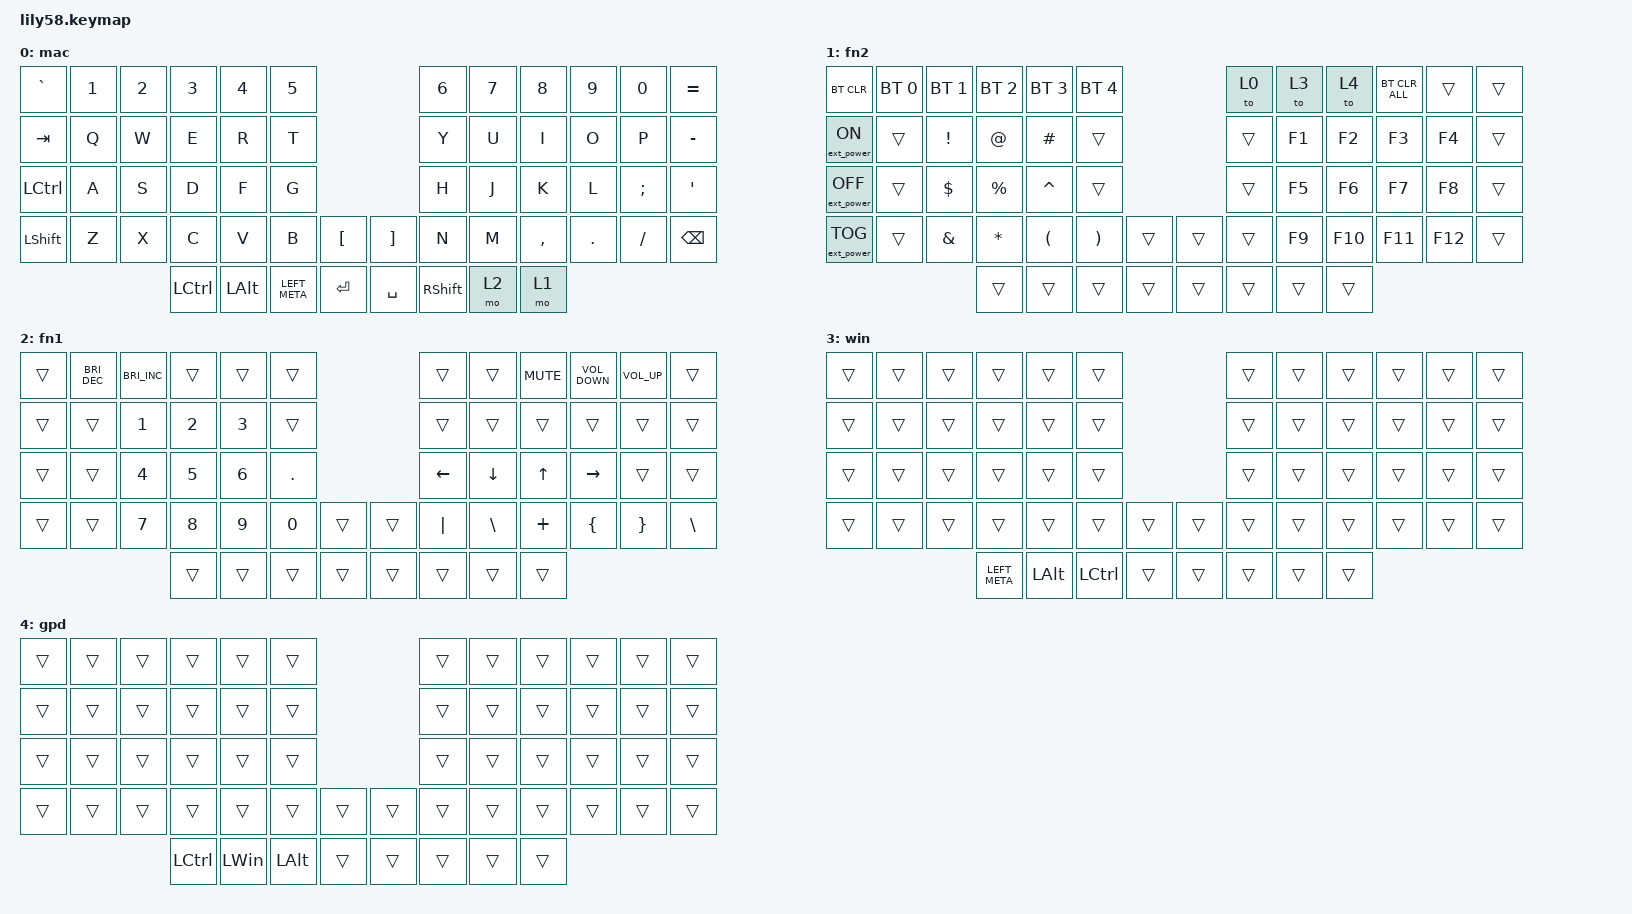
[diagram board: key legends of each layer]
/*
 * Copyright (c) 2020 The ZMK Contributors
 *
 * SPDX-License-Identifier: MIT
 */

#include <behaviors.dtsi>
#include <dt-bindings/zmk/bt.h>
#include <dt-bindings/zmk/ext_power.h>
#include <dt-bindings/zmk/keys.h>

/ {
    combos {
        compatible = "zmk,combos";

        backspace {
            bindings = <&kp BACKSPACE>;
            key-positions = <31 32>;
            layers = <0 3 4>;
            slow-release;
            require-prior-idle-ms = <50>;
        };

        delete {
            bindings = <&kp DELETE>;
            key-positions = <31 30>;
            layers = <0 3 4>;
            slow-release;
            require-prior-idle-ms = <50>;
        };

        escape {
            bindings = <&kp ESCAPE>;
            key-positions = <28 29>;
            require-prior-idle-ms = <50>;
            slow-release;
            layers = <0 3 4>;
        };
    };

    keymap {
        compatible = "zmk,keymap";

        mac {
            // ------------------------------------------------------------------------------------------------------------
            // |  ESC  |  1  |  2  |  3   |  4   |  5   |                   |  6   |  7    |  8    |  9   |   0   |   `   |
            // |  TAB  |  Q  |  W  |  E   |  R   |  T   |                   |  Y   |  U    |  I    |  O   |   P   |   -   |
            // |  CTRL |  A  |  S  |  D   |  F   |  G   |                   |  H   |  J    |  K    |  L   |   ;   |   '   |
            // | SHIFT |  Z  |  X  |  C   |  V   |  B   |   "["  |  |  "]"  |  N   |  M    |  ,    |  .   |   /   | SHIFT |
            //                     | ALT  | GUI  | LOWER|  SPACE |  | ENTER | RAISE| BSPC  | GUI   |

            bindings = <
&kp GRAVE         &kp N1  &kp N2  &kp N3     &kp N4    &kp N5                                                &kp N6           &kp N7  &kp N8     &kp N9   &kp N0    &kp EQUAL
&kp TAB           &kp Q   &kp W   &kp E      &kp R     &kp T                                                 &kp Y            &kp U   &kp I      &kp O    &kp P     &kp MINUS
&kp LEFT_CONTROL  &kp A   &kp S   &kp D      &kp F     &kp G                                                 &kp H            &kp J   &kp K      &kp L    &kp SEMI  &kp SQT
&kp LSHFT         &kp Z   &kp X   &kp C      &kp V     &kp B          &kp LEFT_BRACKET    &kp RIGHT_BRACKET  &kp N            &kp M   &kp COMMA  &kp DOT  &kp FSLH  &kp BACKSPACE
                                  &kp LCTRL  &kp LALT  &kp LEFT_META  &kp ENTER           &kp SPACE          &kp RIGHT_SHIFT  &mo 2   &mo 1
            >;

            label = "mac";
        };

        fn2 {
            // ------------------------------------------------------------------------------------------------------------
            // | BTCLR | BT1 | BT2 |  BT3 |  BT4 |  BT5 |                   |      |       |       |      |       |       |
            // |  F1   |  F2 |  F3 |  F4  |  F5  |  F6  |                   |  F7  |  F8   |  F9   |  F10 |  F11  |  F12  |
            // |   `   |  !  |  @  |  #   |  $   |  %   |                   |  ^   |  &    |  *    |  (   |   )   |   ~   |
            // |       |     |     |      |      |      |        |  |       |      |  _    |  +    |  {   |   }   |  "|"  |
            //                     |      |      |      |        |  |       |      |       |       |

            bindings = <
&bt BT_CLR         &bt BT_SEL 0  &bt BT_SEL 1     &bt BT_SEL 2  &bt BT_SEL 3          &bt BT_SEL 4                             &to 0   &to 3   &to 4    &bt BT_CLR_ALL  &trans   &trans
&ext_power EP_ON   &trans        &kp EXCLAMATION  &kp AT        &kp HASH              &trans                                   &trans  &kp F1  &kp F2   &kp F3          &kp F4   &trans
&ext_power EP_OFF  &trans        &kp DOLLAR       &kp PERCENT   &kp CARET             &trans                                   &trans  &kp F5  &kp F6   &kp F7          &kp F8   &trans
&ext_power EP_TOG  &trans        &kp AMPERSAND    &kp ASTERISK  &kp LEFT_PARENTHESIS  &kp RIGHT_PARENTHESIS  &trans    &trans  &trans  &kp F9  &kp F10  &kp F11         &kp F12  &trans
                                                  &trans        &trans                &trans                 &trans    &trans  &trans  &trans  &trans
            >;

            label = "fn2";
        };

        fn1 {
            // ------------------------------------------------------------------------------------------------------------
            // |       |     |     |      |      |      |                   |      |       |       |      |       |       |
            // |   `   |  1  |  2  |  3   |  4   |  5   |                   |  6   |   7   |   8   |  9   |   0   |       |
            // |   F1  |  F2 |  F3 |  F4  |  F5  |  F6  |                   |      |   <-  |   v   |  ^   |  ->   |       |
            // |   F7  |  F8 |  F9 |  F10 |  F11 |  F12 |        |  |       |  +   |   -   |   =   |  [   |   ]   |   \   |
            //                     |      |      |      |        |  |       |      |       |       |

            bindings = <
&trans  &kp C_BRIGHTNESS_DEC  &kp C_BRIGHTNESS_INC  &trans        &trans        &trans                          &trans    &trans         &kp C_MUTE  &kp C_VOLUME_DOWN  &kp C_VOLUME_UP  &trans
&trans  &trans                &kp NUMBER_1          &kp NUMBER_2  &kp NUMBER_3  &trans                          &trans    &trans         &trans      &trans             &trans           &trans
&trans  &trans                &kp NUMBER_4          &kp NUMBER_5  &kp NUMBER_6  &kp DOT                         &kp LEFT  &kp DOWN       &kp UP      &kp RIGHT          &trans           &trans
&trans  &trans                &kp NUMBER_7          &kp NUMBER_8  &kp NUMBER_9  &kp NUMBER_0  &trans    &trans  &kp PIPE  &kp BACKSLASH  &kp PLUS    &kp LEFT_BRACE     &kp RIGHT_BRACE  &kp BSLH
                                                    &trans        &trans        &trans        &trans    &trans  &trans    &trans         &trans
            >;

            label = "fn1";
        };

        win {
            bindings = <
&trans  &trans  &trans  &trans         &trans        &trans                       &trans  &trans  &trans  &trans  &trans  &trans
&trans  &trans  &trans  &trans         &trans        &trans                       &trans  &trans  &trans  &trans  &trans  &trans
&trans  &trans  &trans  &trans         &trans        &trans                       &trans  &trans  &trans  &trans  &trans  &trans
&trans  &trans  &trans  &trans         &trans        &trans     &trans    &trans  &trans  &trans  &trans  &trans  &trans  &trans
                        &kp LEFT_META  &kp LEFT_ALT  &kp LCTRL  &trans    &trans  &trans  &trans  &trans
            >;

            label = "win";
        };

        gpd {
            bindings = <
&trans  &trans  &trans  &trans     &trans        &trans                          &trans  &trans  &trans  &trans  &trans  &trans
&trans  &trans  &trans  &trans     &trans        &trans                          &trans  &trans  &trans  &trans  &trans  &trans
&trans  &trans  &trans  &trans     &trans        &trans                          &trans  &trans  &trans  &trans  &trans  &trans
&trans  &trans  &trans  &trans     &trans        &trans        &trans    &trans  &trans  &trans  &trans  &trans  &trans  &trans
                        &kp LCTRL  &kp LEFT_WIN  &kp LEFT_ALT  &trans    &trans  &trans  &trans  &trans
            >;

            label = "gpd";
        };
    };
};
